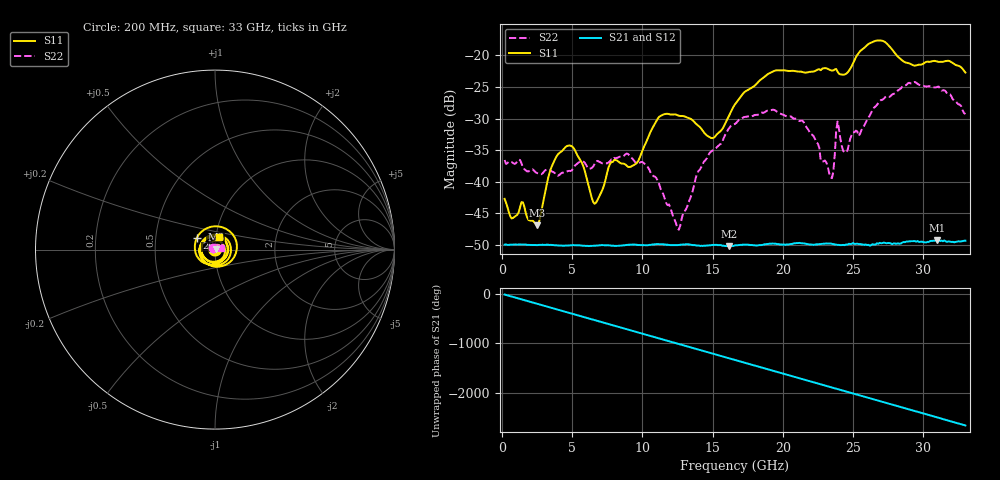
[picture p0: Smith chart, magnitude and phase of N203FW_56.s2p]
# GHZ S RI R 50
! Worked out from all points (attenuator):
!   329 points, 200 MHz to 33 GHz, reference 50 ohm
!   highest |S21| = -49.25 dB at 31 GHz (marker M1); lowest = -50.2 dB at 16.2 GHz (marker M2)
!   lowest |S11| = -46.9 dB at 2.5 GHz (marker M3), VSWR 1.01, Z = 50.4 + j0.233 ohm
!   |S11| at or under -10 dB: start of sweep to end of sweep
!   |S22| runs from -47.6 to -24.2 dB; largest |S21 - S12| = 8.9e-05
!   S11 on the Smith chart (normalised r, x): 200 MHz: 1.01, +0.01; 26 GHz: 0.81, +0.10; 33 GHz: 1.03, +0.15
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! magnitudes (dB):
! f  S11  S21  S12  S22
! 200 MHz  -42.7  -50.0  -49.9  -36.6
! 700 MHz  -45.8  -50.0  -50.0  -36.9
! 2.5 GHz  -46.9  -50.0  -50.0  -38.6
! 4 GHz  -35.7  -50.1  -50.1  -39.1
! 5.7 GHz  -37.0  -50.1  -50.1  -36.8
! 6.6 GHz  -43.5  -50.1  -50.1  -37.2
! 7.8 GHz  -36.9  -50.1  -50.1  -36.5
! 8.9 GHz  -37.5  -50.0  -50.0  -35.5
! 11.2 GHz  -29.7  -49.9  -49.9  -40.4
! 12.6 GHz  -29.5  -50.0  -50.0  -47.6
! 15 GHz  -33.1  -50.0  -50.0  -35.1
! 16.2 GHz  -29.5  -50.2  -50.2  -31.5
! 16.6 GHz  -27.8  -50.1  -50.1  -30.9
! 19.3 GHz  -22.6  -49.8  -49.8  -28.6
! 22.1 GHz  -22.6  -50.0  -49.9  -32.6
! 23.5 GHz  -22.4  -49.8  -49.8  -39.4
! 23.9 GHz  -22.6  -50.0  -50.0  -30.5
! 24.5 GHz  -22.9  -49.9  -49.9  -35.4
! 26 GHz  -18.4  -50.0  -50.0  -30.2
! 27.6 GHz  -18.6  -49.7  -49.7  -26.6
! 31 GHz  -21.0  -49.3  -49.2  -25.0
! 33 GHz  -22.7  -49.3  -49.4  -29.3
